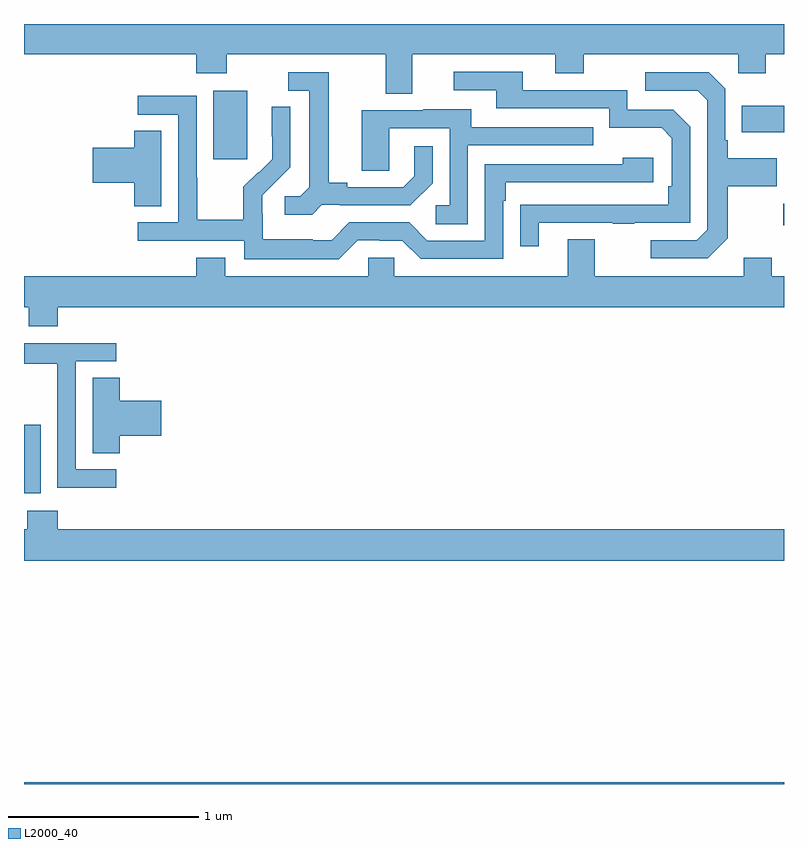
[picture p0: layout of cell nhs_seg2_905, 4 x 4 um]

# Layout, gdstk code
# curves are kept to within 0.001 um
import gdstk
lib = gdstk.Library(unit=1e-6, precision=1e-09)
def R(c, l, rs):  # rectangles x0, y0, x1, y1
    for r in rs: c.add(gdstk.rectangle(r[:2], r[2:], *l))
def P(c, l, *ps):  # polygons
    for p in ps: c.add(gdstk.Polygon(p, *l))
L2000_40 = (2000, 40)

nhs_seg2_905 = lib.new_cell('nhs_seg2_905')
R(nhs_seg2_905, L2000_40, [(157,639.8,161,639.808), (157,641.33,157.087,641.691), (160.995,642.741,161,642.854), (157.997,643.089,158.176,643.45), (160.777,643.229,161,643.369)])
P(nhs_seg2_905, L2000_40, [(159.043,643.64),(159.797,643.64),(159.797,643.541),(159.945,643.541),(159.945,643.64),(160.758,643.64),(160.758,643.541),(160.905,643.541),(160.905,643.64),(161,643.64),(161,643.8),(157,643.8),(157,643.64),(157.907,643.64),(157.907,643.541),(158.067,643.541),(158.067,643.64),(158.903,643.64),(158.903,643.432),(159.043,643.432)],
  [(159.709,642.753),(160.099,642.753),(160.099,642.748),(160.211,642.748),(160.211,642.753),(160.506,642.753),(160.506,643.26),(160.416,643.35),(160.176,643.35),(160.176,643.452),(159.625,643.452),(159.625,643.548),(159.261,643.548),(159.261,643.452),(159.485,643.452),(159.485,643.356),(160.08,643.356),(160.08,643.253),(160.357,643.253),(160.41,643.2),(160.41,642.946),(160.39,642.946),(160.39,642.849),(159.613,642.848),(159.613,642.63),(159.709,642.63)],
  [(158.568,642.849),(158.662,642.849),(158.662,642.846),(159.034,642.846),(159.15,642.962),(159.15,643.156),(159.053,643.156),(159.053,642.999),(158.996,642.942),(158.701,642.942),(158.701,642.965),(158.605,642.965),(158.605,643.545),(158.391,643.545),(158.391,643.449),(158.501,643.449),(158.501,642.941),(158.454,642.894),(158.373,642.894),(158.373,642.797),(158.516,642.797)],
  [(160.705,642.673),(160.705,642.946),(160.961,642.946),(160.961,643.093),(160.705,643.093),(160.705,643.189),(160.692,643.189),(160.692,643.458),(160.605,643.545),(160.269,643.545),(160.269,643.449),(160.545,643.449),(160.596,643.398),(160.596,642.717),(160.542,642.663),(160.299,642.663),(160.299,642.567),(160.599,642.567)],
  [(158.757,642.663),(158.873,642.663),(158.873,642.66),(158.991,642.66),(159.087,642.564),(159.522,642.564),(159.522,642.869),(159.535,642.869),(159.535,642.966),(160.312,642.966),(160.312,643.096),(160.151,643.096),(160.151,643.062),(159.426,643.062),(159.426,642.66),(159.123,642.66),(159.027,642.756),(158.712,642.756),(158.619,642.663),(158.519,642.663),(158.519,642.667),(158.256,642.667),(158.256,642.801),(158.254,642.801),(158.254,642.898),(158.4,643.046),(158.4,643.364),(158.304,643.364),(158.304,643.21),(158.306,643.21),(158.306,643.088),(158.235,643.017),(158.232,643.02),(158.155,642.943),(158.155,642.769),(157.911,642.769),(157.911,642.992),(157.908,642.992),(157.908,643.422),(157.599,643.422),(157.599,643.323),(157.812,643.323),(157.812,642.756),(157.599,642.756),(157.599,642.66),(158.16,642.66),(158.16,642.563),(158.657,642.563)],
  [(159.336,643.161),(159.995,643.161),(159.995,643.257),(159.355,643.257),(159.355,643.351),(159.101,643.351),(159.101,643.347),(158.777,643.347),(158.777,643.027),(158.922,643.027),(158.922,643.251),(159.24,643.251),(159.24,642.846),(159.168,642.846),(159.168,642.745),(159.336,642.745)],
  [(157.723,643.238),(157.58,643.238),(157.58,643.148),(157.362,643.148),(157.362,642.965),(157.58,642.965),(157.58,642.841),(157.723,642.841)],
  [(157.178,642.308),(161,642.308),(161,642.472),(160.935,642.472),(160.935,642.571),(160.787,642.571),(160.787,642.472),(160.003,642.472),(160.003,642.667),(159.863,642.667),(159.863,642.472),(158.949,642.472),(158.949,642.57),(158.811,642.57),(158.811,642.472),(158.059,642.472),(158.059,642.571),(157.907,642.571),(157.907,642.472),(157,642.472),(157,642.308),(157.025,642.308),(157.025,642.209),(157.178,642.209)],
  [(157.486,641.457),(157.272,641.457),(157.272,642.024),(157.486,642.024),(157.486,642.12),(157,642.12),(157,642.012),(157.174,642.012),(157.174,641.788),(157.176,641.788),(157.176,641.359),(157.486,641.359)],
  [(157.505,641.633),(157.723,641.633),(157.723,641.816),(157.505,641.816),(157.505,641.939),(157.361,641.939),(157.361,641.542),(157.505,641.542)],
  [(161,641.14),(157.178,641.14),(157.178,641.239),(157.018,641.239),(157.018,641.14),(157,641.14),(157,640.976),(161,640.976)])

lib.write_gds('nhs_seg2_905.gds')
